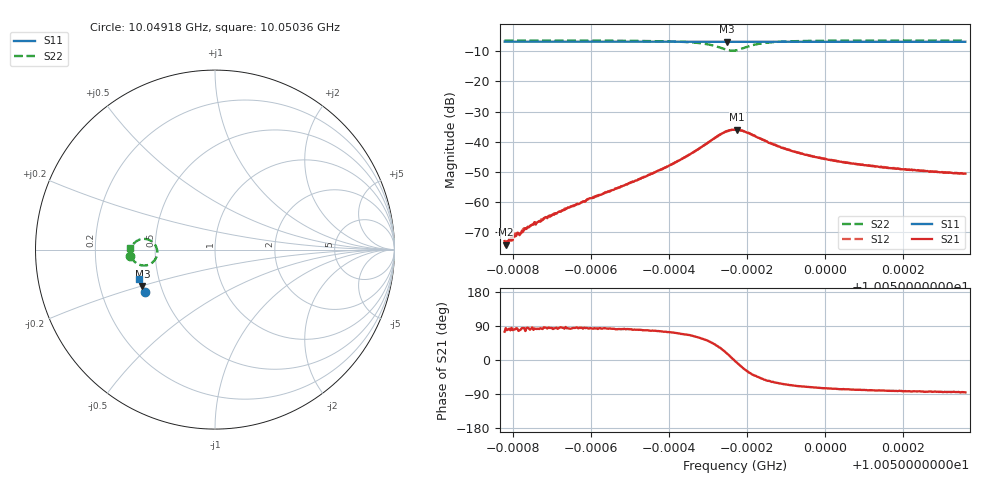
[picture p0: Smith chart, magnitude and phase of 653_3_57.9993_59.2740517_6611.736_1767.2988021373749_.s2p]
#  HZ  S  RI  R  50.00
! Rohde & Schwarz Vector Network Analyzer
! Rohde-Schwarz,ZNB20-2Port,1311601062101988,3.16
! Created: UTC 3/21/2024, 1:19:39 AM
! freq[Hz]  re:S11  im:S11  re:S21  im:S21  re:S12  im:S12  re:S22  im:S22
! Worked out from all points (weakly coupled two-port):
!   401 points, 10.04918 GHz to 10.05036 GHz, reference 50 ohm
!   highest |S21| = -35.98 dB at 10.04977 GHz (marker M1); lowest = -74.1 dB at 10.04918 GHz (marker M2)
!   lowest |S11| = -6.9 dB at 10.04975 GHz (marker M3), VSWR 2.65, Z = 19.8 - j10 ohm
!   |S11| at or under -10 dB: nowhere
!   |S22| runs from -9.8 to -6.5 dB; largest |S21 - S12| = 0.0013
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1.0049177e10  -0.3884 -0.2362  5.92e-05 0.000218  1.08e-05 0.000207  -0.4738 -0.0355
1.004918e10  -0.3886 -0.2361  2.04e-05 0.000196  5.7e-05 0.000177  -0.4739 -0.0353
1.0049192e10  -0.3888 -0.2354  4.62e-05 0.000226  2.14e-05 0.000238  -0.4737 -0.0344
1.0049207e10  -0.3894 -0.2344  2.95e-05 0.000273  2.75e-05 0.00029  -0.4737 -0.033
1.0049216e10  -0.3896 -0.2338  5.63e-05 0.000277  1.44e-05 0.000318  -0.4736 -0.0321
1.0049254e10  -0.3908 -0.2318  5.39e-05 0.000461  2.17e-05 0.000457  -0.4738 -0.0284
1.0049284e10  -0.3918 -0.23  4.74e-05 0.000563  8.56e-06 0.000543  -0.4735 -0.0254
1.0049376e10  -0.3948 -0.2248  8.56e-05 0.000987  4.93e-05 0.001  -0.4726 -0.0153
1.0049574e10  -0.4006 -0.2129  0.000795 0.00325  0.000613 0.00328  -0.4627 0.0187
1.004963e10  -0.4022 -0.2093  0.00183 0.00473  0.00151 0.00484  -0.4511 0.0354
1.004968e10  -0.4034 -0.206  0.00425 0.00676  0.00382 0.00695  -0.4244 0.054
1.0049722e10  -0.4041 -0.2034  0.00951 0.00738  0.00899 0.00808  -0.3736 0.0564
1.0049748e10  -0.4041 -0.202  0.0143 0.00453  0.0139 0.00542  -0.3317 0.023
1.0049769e10  -0.4046 -0.2014  0.0158 -0.000767  0.0159 0.000368  -0.3226 -0.0272
1.0049775e10  -0.4047 -0.2012  0.0157 -0.00228  0.0158 -0.00106  -0.3268 -0.0417
1.0049804e10  -0.4059 -0.2001  0.0116 -0.00754  0.0123 -0.00667  -0.3718 -0.0846
1.0049846e10  -0.4075 -0.1978  0.00635 -0.00822  0.00692 -0.00774  -0.425 -0.0829
1.0049893e10  -0.4091 -0.1949  0.00347 -0.00699  0.00396 -0.00681  -0.4514 -0.0643
1.0049967e10  -0.4114 -0.1903  0.00174 -0.00545  0.00211 -0.00538  -0.4661 -0.042
1.005005e10  -0.4135 -0.1853  0.001 -0.00442  0.00129 -0.00441  -0.4717 -0.0255
1.0050165e10  -0.4163 -0.1782  0.000547 -0.00364  0.000776 -0.00362  -0.4744 -0.00954
1.005036e10  -0.421 -0.1661  0.000241 -0.00295  0.000451 -0.00293  -0.4754 0.0104
